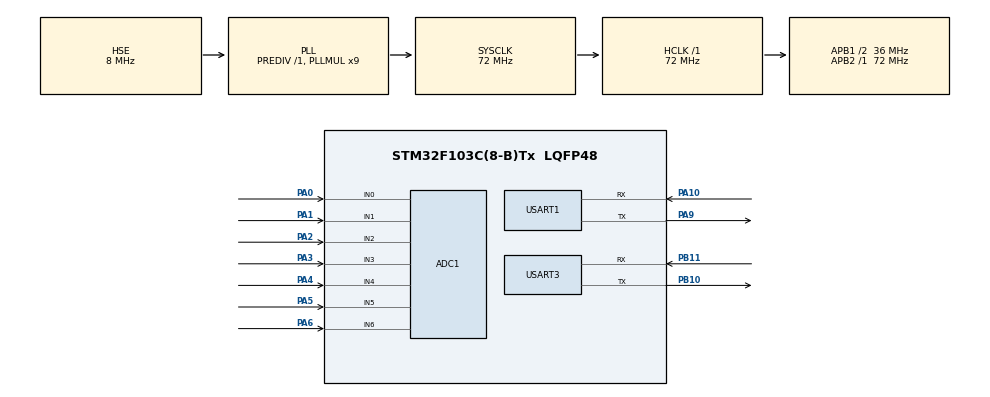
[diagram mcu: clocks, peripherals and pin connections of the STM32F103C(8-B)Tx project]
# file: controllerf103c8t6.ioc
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ADC1.Channel-1\#ChannelRegularConversion=ADC_CHANNEL_1
ADC1.Channel-2\#ChannelRegularConversion=ADC_CHANNEL_2
ADC1.Channel-3\#ChannelRegularConversion=ADC_CHANNEL_3
ADC1.Channel-4\#ChannelRegularConversion=ADC_CHANNEL_4
ADC1.Channel-5\#ChannelRegularConversion=ADC_CHANNEL_5
ADC1.Channel-6\#ChannelRegularConversion=ADC_CHANNEL_6
ADC1.NbrOfConversion=6
ADC1.NbrOfConversionFlag=1
ADC1.Rank-1\#ChannelRegularConversion=1
ADC1.Rank-2\#ChannelRegularConversion=2
ADC1.Rank-3\#ChannelRegularConversion=3
ADC1.Rank-4\#ChannelRegularConversion=4
ADC1.Rank-5\#ChannelRegularConversion=5
ADC1.Rank-6\#ChannelRegularConversion=6
ADC1.SamplingTime-1\#ChannelRegularConversion=ADC_SAMPLETIME_1CYCLE_5
ADC1.SamplingTime-2\#ChannelRegularConversion=ADC_SAMPLETIME_1CYCLE_5
ADC1.SamplingTime-3\#ChannelRegularConversion=ADC_SAMPLETIME_1CYCLE_5
ADC1.SamplingTime-4\#ChannelRegularConversion=ADC_SAMPLETIME_1CYCLE_5
ADC1.SamplingTime-5\#ChannelRegularConversion=ADC_SAMPLETIME_1CYCLE_5
ADC1.SamplingTime-6\#ChannelRegularConversion=ADC_SAMPLETIME_1CYCLE_5
ADC1.master=1
Dma.ADC1.0.Direction=DMA_PERIPH_TO_MEMORY
Dma.ADC1.0.Instance=DMA1_Channel1
Dma.ADC1.0.MemDataAlignment=DMA_MDATAALIGN_HALFWORD
Dma.ADC1.0.MemInc=DMA_MINC_ENABLE
Dma.ADC1.0.Mode=DMA_NORMAL
Dma.ADC1.0.PeriphDataAlignment=DMA_PDATAALIGN_HALFWORD
Dma.ADC1.0.PeriphInc=DMA_PINC_DISABLE
Dma.ADC1.0.Priority=DMA_PRIORITY_LOW
Dma.Request0=ADC1
Dma.Request1=USART3_TX
Dma.USART3_TX.1.Direction=DMA_MEMORY_TO_PERIPH
Dma.USART3_TX.1.Instance=DMA1_Channel2
Dma.USART3_TX.1.MemDataAlignment=DMA_MDATAALIGN_BYTE
Dma.USART3_TX.1.MemInc=DMA_MINC_ENABLE
Dma.USART3_TX.1.Mode=DMA_NORMAL
Dma.USART3_TX.1.PeriphDataAlignment=DMA_PDATAALIGN_BYTE
Dma.USART3_TX.1.PeriphInc=DMA_PINC_DISABLE
Dma.USART3_TX.1.Priority=DMA_PRIORITY_LOW
Mcu.Family=STM32F1
Mcu.Name=STM32F103C(8-B)Tx
Mcu.Package=LQFP48
NVIC.ADC1_2_IRQn=true\:0\:0\:false\:false\:true\:true\:true\:true
NVIC.DMA1_Channel1_IRQn=true\:0\:0\:false\:false\:true\:false\:true\:true
NVIC.DMA1_Channel2_IRQn=true\:0\:0\:false\:false\:true\:false\:true\:true
NVIC.PriorityGroup=NVIC_PRIORITYGROUP_4
PA0-WKUP.Signal=ADCx_IN0
PA1.Signal=ADCx_IN1
PA10.Mode=Asynchronous
PA10.Signal=USART1_RX
PA13.Mode=Serial_Wire
PA13.Signal=SYS_JTMS-SWDIO
PA14.Mode=Serial_Wire
PA14.Signal=SYS_JTCK-SWCLK
PA2.Signal=ADCx_IN2
PA3.Signal=ADCx_IN3
PA4.Signal=ADCx_IN4
PA5.Signal=ADCx_IN5
PA6.Signal=ADCx_IN6
PA9.Mode=Asynchronous
PA9.Signal=USART1_TX
PB10.Mode=Asynchronous
PB10.Signal=USART3_TX
PB11.Mode=Asynchronous
PB11.Signal=USART3_RX
PC14-OSC32_IN.Mode=LSE-External-Clock-Source
PC14-OSC32_IN.Signal=RCC_OSC32_IN
PC15-OSC32_OUT.Mode=LSE-External-Clock-Source
PC15-OSC32_OUT.Signal=RCC_OSC32_OUT
PD0-OSC_IN.Mode=HSE-External-Oscillator
PD0-OSC_IN.Signal=RCC_OSC_IN
PD1-OSC_OUT.Mode=HSE-External-Oscillator
PD1-OSC_OUT.Signal=RCC_OSC_OUT
ProjectManager.HeapSize=0x200
ProjectManager.StackSize=0x400
ProjectManager.TargetToolchain=MDK-ARM V5.27
RCC.ADCPresc=RCC_ADCPCLK2_DIV6
RCC.AHBFreq_Value=72000000
RCC.APB1CLKDivider=RCC_HCLK_DIV2
RCC.APB1Freq_Value=36000000
RCC.APB1TimFreq_Value=72000000
RCC.APB2Freq_Value=72000000
RCC.APB2TimFreq_Value=72000000
RCC.HCLKFreq_Value=72000000
RCC.PLLMUL=RCC_PLL_MUL9
RCC.PLLSourceVirtual=RCC_PLLSOURCE_HSE
RCC.SYSCLKFreq_VALUE=72000000
RCC.SYSCLKSource=RCC_SYSCLKSOURCE_PLLCLK
RCC.USBFreq_Value=72000000
SH.ADCx_IN0.0=ADC1_IN0,IN0
SH.ADCx_IN1.0=ADC1_IN1,IN1
SH.ADCx_IN2.0=ADC1_IN2,IN2
SH.ADCx_IN3.0=ADC1_IN3,IN3
SH.ADCx_IN4.0=ADC1_IN4,IN4
SH.ADCx_IN5.0=ADC1_IN5,IN5
SH.ADCx_IN6.0=ADC1_IN6,IN6
USART1.VirtualMode=VM_ASYNC
USART3.VirtualMode=VM_ASYNC
board=custom

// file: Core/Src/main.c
/* USER CODE BEGIN Header */
/**
  ******************************************************************************
  * @file           : main.c
  * @brief          : Main program body
  ******************************************************************************
  * @attention
  *
  * Copyright (c) 2025 STMicroelectronics.
  * All rights reserved.
  *
  * This software is licensed under terms that can be found in the LICENSE file
  * in the root directory of this software component.
  * If no LICENSE file comes with this software, it is provided AS-IS.
  *
  ******************************************************************************
  */
/* USER CODE END Header */
#include "main.h"
#include "adc.h"
#include "dma.h"
#include "usart.h"
#include "gpio.h"

/* USER CODE BEGIN Includes */
#include <stdio.h>
#include <stdlib.h>
#include <string.h>
/* USER CODE END Includes */

/* USER CODE BEGIN PTD */
typedef union{
	int16_t data;
	uint8_t bytes[4];
} int16_t_u;
typedef struct {
    float x;
    float P;
} KalmanFilter;
/* USER CODE END PTD */

/* USER CODE BEGIN PV */

extern DMA_HandleTypeDef hdma_adc1;

/* USER CODE END PV */

void SystemClock_Config(void);
/* USER CODE BEGIN PFP */
int fputc(int ch, FILE *f) {
	HAL_UART_Transmit(&huart1, (uint8_t *)&ch, 1, HAL_MAX_DELAY);
	return ch;
}

void HAL_ADC_ConvCpltCallback(ADC_HandleTypeDef* hadc)
{
	HAL_ADC_Stop_DMA(&hadc1);
}

void kalman_init(KalmanFilter *kf, float initial_value) {
    kf->x = initial_value;
    kf->P = 1.0;
}

float kalman_update(KalmanFilter *kf, float adc_value, float A, float H, float Q, float R) {
    float x_pred = A * kf->x;
    float P_pred = A * kf->P * A + Q;
    float K = P_pred * H / (H * P_pred * H + R);
    kf->x = x_pred + K * (adc_value - H * x_pred);
    kf->P = (1 - K * H) * P_pred;
    return kf->x;
}
/* USER CODE END PFP */

int main(void)
{

  /* MCU Configuration--------------------------------------------------------*/

  /* Reset of all peripherals, Initializes the Flash interface and the Systick. */
  HAL_Init();

  /* Configure the system clock */
  SystemClock_Config();

  /* Initialize all configured peripherals */
  MX_GPIO_Init();
  MX_DMA_Init();
  MX_USART1_UART_Init();
  MX_ADC1_Init();
  MX_USART3_UART_Init();
  /* USER CODE BEGIN 2 */
	HAL_ADCEx_Calibration_Start(&hadc1);
	uint16_t ADC_Values[6];
	KalmanFilter ADC_Kalman_Filter[6];
	HAL_ADC_Start_DMA(&hadc1,(uint32_t*)&ADC_Values, 6);
	HAL_Delay(100);
	uint8_t tx_data[1+2*6];//1+2*6
	tx_data[0] = 0x0A;
	int16_t temp;
	int i;
	for(i = 0;i < 6;i++)
	{
		kalman_init(&ADC_Kalman_Filter[i], ADC_Values[i]);
	}
	//printf("Init end\n");
  /* USER CODE END 2 */

  /* Infinite loop */
  /* USER CODE BEGIN WHILE */
  while (1)
  {
		HAL_ADC_Start_DMA(&hadc1,(uint32_t*)&ADC_Values, 6);
		HAL_Delay(50);
		for(i = 0;i < 6;i++)
		{
			kalman_update(&ADC_Kalman_Filter[i], ADC_Values[i],1, 1, 0.01, 0.1);
		}
		printf("%d,%d,%d,%d,%d,%d\n", (int)ADC_Kalman_Filter[0].x, (int)ADC_Kalman_Filter[1].x, (int)ADC_Kalman_Filter[2].x, (int)ADC_Kalman_Filter[3].x,(int)ADC_Kalman_Filter[4].x, (int)ADC_Kalman_Filter[5].x);
		for(i = 0;i < 6;i++)
		{
			temp = ADC_Kalman_Filter[i].x;
			memcpy(&tx_data[1 + i * sizeof(short)], &temp, sizeof(short));
		}
		HAL_UART_Transmit_DMA(&huart3, tx_data, sizeof(tx_data));
    /* USER CODE END WHILE */

  }
}

void SystemClock_Config(void)
{
  RCC_OscInitTypeDef RCC_OscInitStruct = {0};
  RCC_ClkInitTypeDef RCC_ClkInitStruct = {0};
  RCC_PeriphCLKInitTypeDef PeriphClkInit = {0};

  /** Initializes the RCC Oscillators according to the specified parameters
  * in the RCC_OscInitTypeDef structure.
  */
  RCC_OscInitStruct.OscillatorType = RCC_OSCILLATORTYPE_HSE;
  RCC_OscInitStruct.HSEState = RCC_HSE_ON;
  RCC_OscInitStruct.HSEPredivValue = RCC_HSE_PREDIV_DIV1;
  RCC_OscInitStruct.HSIState = RCC_HSI_ON;
  RCC_OscInitStruct.PLL.PLLState = RCC_PLL_ON;
  RCC_OscInitStruct.PLL.PLLSource = RCC_PLLSOURCE_HSE;
  RCC_OscInitStruct.PLL.PLLMUL = RCC_PLL_MUL9;
  if (HAL_RCC_OscConfig(&RCC_OscInitStruct) != HAL_OK)
  {
    Error_Handler();
  }

  /** Initializes the CPU, AHB and APB buses clocks
  */
  RCC_ClkInitStruct.ClockType = RCC_CLOCKTYPE_HCLK|RCC_CLOCKTYPE_SYSCLK
                              |RCC_CLOCKTYPE_PCLK1|RCC_CLOCKTYPE_PCLK2;
  RCC_ClkInitStruct.SYSCLKSource = RCC_SYSCLKSOURCE_PLLCLK;
  RCC_ClkInitStruct.AHBCLKDivider = RCC_SYSCLK_DIV1;
  RCC_ClkInitStruct.APB1CLKDivider = RCC_HCLK_DIV2;
  RCC_ClkInitStruct.APB2CLKDivider = RCC_HCLK_DIV1;

  if (HAL_RCC_ClockConfig(&RCC_ClkInitStruct, FLASH_LATENCY_2) != HAL_OK)
  {
    Error_Handler();
  }
  PeriphClkInit.PeriphClockSelection = RCC_PERIPHCLK_ADC;
  PeriphClkInit.AdcClockSelection = RCC_ADCPCLK2_DIV6;
  if (HAL_RCCEx_PeriphCLKConfig(&PeriphClkInit) != HAL_OK)
  {
    Error_Handler();
  }
}

void Error_Handler(void)
{
  __disable_irq();
  while (1)
  {
  }
}
